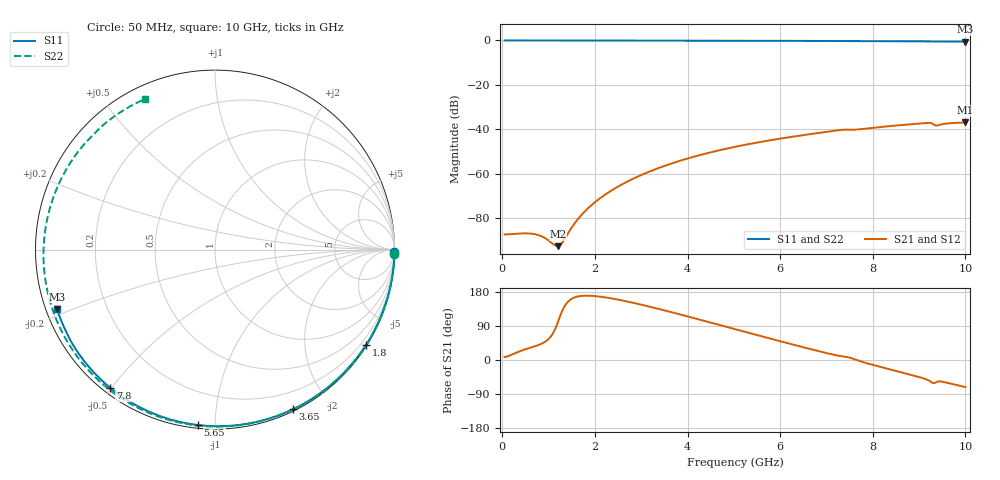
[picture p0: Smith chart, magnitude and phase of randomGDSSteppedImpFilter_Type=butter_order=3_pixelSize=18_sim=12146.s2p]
! freq	dB(S11)	phase(S11)	dB(S12)	phase(S12)
!  dB(S21)	phase(S21)	dB(S22)	phase(S22)
!S-par simulation data
#  GHz  S  DB  R 50
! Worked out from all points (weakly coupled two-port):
!   200 points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, 50 MHz to 10 GHz, reference 50 ohm
!   highest |S21| = -36.86 dB at 10 GHz (marker M1); lowest = -92.5 dB at 1.2 GHz (marker M2)
!   lowest |S11| = -0.5 dB at 10 GHz (marker M3), VSWR 32.42, Z = 1.59 - j9.09 ohm
!   |S11| at or under -10 dB: nowhere
!   |S22| runs from -0.7 to 0.0 dB; largest |S21 - S12| = 0
!   S11 on the Smith chart (normalised r, x): 50 MHz: open; 1.8 GHz: 0.03, -3.44; 3.65 GHz: 0.02, -1.60; 5.65 GHz: 0.02, -0.91; 7.8 GHz: 0.02, -0.50; 10 GHz: 0.03, -0.18
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0.05  -0.00 -0.9  -87.28 8.0  -87.28 8.0  -0.00 -1.3
0.6  -0.01 -11.0  -86.84 32.3  -86.84 32.3  -0.01 -15.4
1.2  -0.03 -21.8  -92.52 99.6  -92.52 99.6  -0.04 -30.5
1.65  -0.04 -29.8  -79.92 168.1  -79.92 168.1  -0.05 -41.7
1.75  -0.04 -31.5  -77.58 169.5  -77.58 169.5  -0.06 -44.2
1.8  -0.04 -32.4  -76.51 169.7  -76.51 169.7  -0.06 -45.4
2.1  -0.05 -37.7  -71.13 167.3  -71.13 167.3  -0.07 -52.7
2.45  -0.06 -43.8  -66.32 160.5  -66.32 160.5  -0.08 -61.1
2.9  -0.07 -51.4  -61.46 148.9  -61.46 148.9  -0.09 -71.7
3.4  -0.08 -59.8  -57.19 134.1  -57.19 134.1  -0.11 -83.3
3.65  -0.09 -64.0  -55.37 126.3  -55.37 126.3  -0.12 -89.0
4.35  -0.11 -75.3  -51.10 103.6  -51.10 103.6  -0.15 -104.7
5.05  -0.13 -86.3  -47.74 80.5  -47.74 80.5  -0.18 -120.1
5.65  -0.16 -95.5  -45.37 60.9  -45.37 60.9  -0.22 -133.2
6.7  -0.22 -111.1  -41.98 27.3  -41.98 27.3  -0.30 -156.5
7.3  -0.26 -119.9  -40.26 10.5  -40.26 10.5  -0.36 -170.4
7.8  -0.30 -127.1  -39.75 -5.9  -39.75 -5.9  -0.41 177.5
8.35  -0.35 -135.1  -38.54 -24.0  -38.54 -24.0  -0.47 163.5
9.15  -0.43 -146.7  -37.12 -50.9  -37.12 -50.9  -0.58 141.3
9.25  -0.44 -148.2  -37.09 -57.1  -37.09 -57.1  -0.60 138.3
9.35  -0.47 -149.7  -38.28 -60.0  -38.28 -60.0  -0.61 135.5
10  -0.54 -159.4  -36.86 -71.5  -36.86 -71.5  -0.68 114.7
